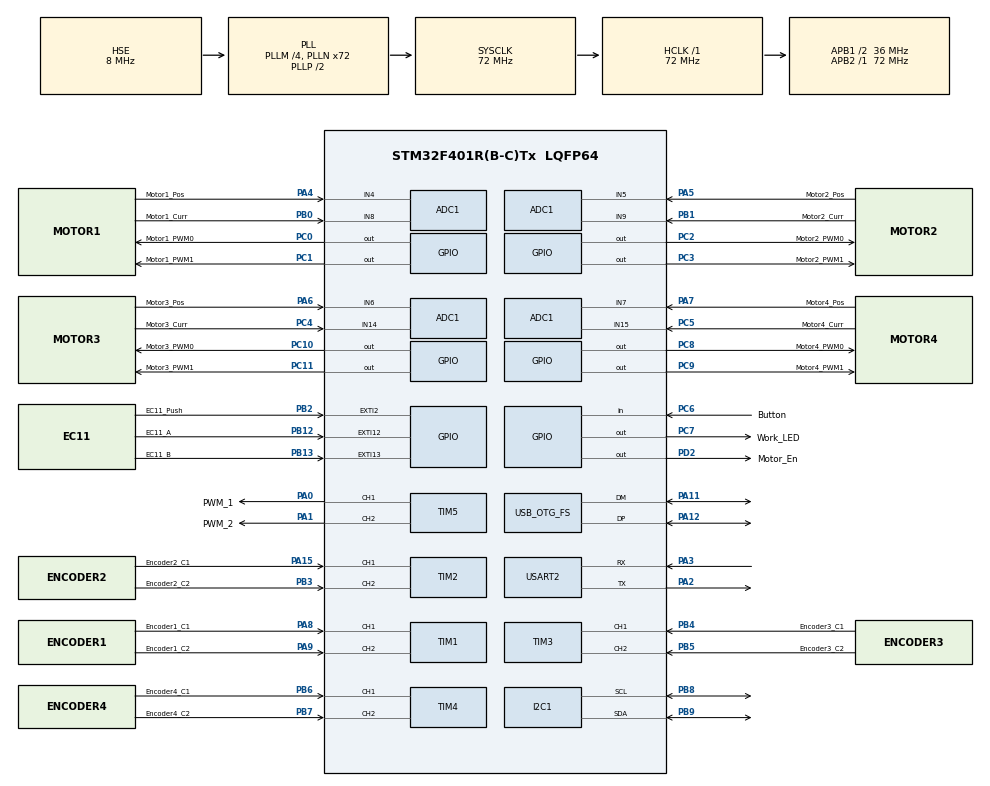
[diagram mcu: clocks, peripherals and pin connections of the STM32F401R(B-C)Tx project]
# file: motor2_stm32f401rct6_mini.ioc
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ADC1.Channel-0\#ChannelRegularConversion=ADC_CHANNEL_4
ADC1.Channel-1\#ChannelRegularConversion=ADC_CHANNEL_5
ADC1.Channel-2\#ChannelRegularConversion=ADC_CHANNEL_6
ADC1.Channel-3\#ChannelRegularConversion=ADC_CHANNEL_7
ADC1.Channel-4\#ChannelRegularConversion=ADC_CHANNEL_8
ADC1.Channel-5\#ChannelRegularConversion=ADC_CHANNEL_9
ADC1.Channel-6\#ChannelRegularConversion=ADC_CHANNEL_14
ADC1.Channel-7\#ChannelRegularConversion=ADC_CHANNEL_15
ADC1.Channel-8\#ChannelRegularConversion=ADC_CHANNEL_VREFINT
ADC1.EOCSelection=ADC_EOC_SEQ_CONV
ADC1.NbrOfConversion=9
ADC1.NbrOfConversionFlag=1
ADC1.Rank-0\#ChannelRegularConversion=1
ADC1.Rank-1\#ChannelRegularConversion=2
ADC1.Rank-2\#ChannelRegularConversion=3
ADC1.Rank-3\#ChannelRegularConversion=4
ADC1.Rank-4\#ChannelRegularConversion=5
ADC1.Rank-5\#ChannelRegularConversion=6
ADC1.Rank-6\#ChannelRegularConversion=7
ADC1.Rank-7\#ChannelRegularConversion=8
ADC1.Rank-8\#ChannelRegularConversion=9
ADC1.SamplingTime-0\#ChannelRegularConversion=ADC_SAMPLETIME_84CYCLES
ADC1.SamplingTime-1\#ChannelRegularConversion=ADC_SAMPLETIME_84CYCLES
ADC1.SamplingTime-2\#ChannelRegularConversion=ADC_SAMPLETIME_84CYCLES
ADC1.SamplingTime-3\#ChannelRegularConversion=ADC_SAMPLETIME_84CYCLES
ADC1.SamplingTime-4\#ChannelRegularConversion=ADC_SAMPLETIME_84CYCLES
ADC1.SamplingTime-5\#ChannelRegularConversion=ADC_SAMPLETIME_84CYCLES
ADC1.SamplingTime-6\#ChannelRegularConversion=ADC_SAMPLETIME_84CYCLES
ADC1.SamplingTime-7\#ChannelRegularConversion=ADC_SAMPLETIME_84CYCLES
ADC1.SamplingTime-8\#ChannelRegularConversion=ADC_SAMPLETIME_144CYCLES
ADC1.ScanConvMode=ENABLE
ADC1.master=1
Dma.ADC1.0.Direction=DMA_PERIPH_TO_MEMORY
Dma.ADC1.0.FIFOMode=DMA_FIFOMODE_DISABLE
Dma.ADC1.0.Instance=DMA2_Stream0
Dma.ADC1.0.MemDataAlignment=DMA_MDATAALIGN_HALFWORD
Dma.ADC1.0.MemInc=DMA_MINC_ENABLE
Dma.ADC1.0.Mode=DMA_NORMAL
Dma.ADC1.0.PeriphDataAlignment=DMA_PDATAALIGN_HALFWORD
Dma.ADC1.0.PeriphInc=DMA_PINC_DISABLE
Dma.ADC1.0.Priority=DMA_PRIORITY_LOW
Dma.Request0=ADC1
FREERTOS.Tasks01=defaultTask,0,2048,StartDefaultTask,Default,NULL,Dynamic,NULL,NULL;mainTask,-3,2048,main_task,Default,NULL,Dynamic,NULL,NULL
FREERTOS.configENABLE_FPU=1
FREERTOS.configTOTAL_HEAP_SIZE=32768
FREERTOS.configUSE_NEWLIB_REENTRANT=1
I2C1.I2C_Mode=I2C_Fast
IWDG.Prescaler=IWDG_PRESCALER_64
IWDG.Reload=500
Mcu.Family=STM32F4
Mcu.Name=STM32F401R(B-C)Tx
Mcu.Package=LQFP64
NVIC.ADC_IRQn=true\:15\:0\:true\:false\:true\:true\:true\:true\:true
NVIC.DMA2_Stream0_IRQn=true\:15\:0\:true\:false\:true\:true\:false\:true\:true
NVIC.EXTI15_10_IRQn=true\:15\:0\:true\:false\:true\:true\:true\:true\:true
NVIC.EXTI2_IRQn=true\:15\:0\:true\:false\:true\:true\:true\:true\:true
NVIC.OTG_FS_IRQn=true\:5\:0\:false\:false\:true\:true\:false\:true\:true
NVIC.PriorityGroup=NVIC_PRIORITYGROUP_4
NVIC.TIM1_TRG_COM_TIM11_IRQn=true\:15\:0\:false\:false\:true\:false\:false\:true\:true
NVIC.TIM1_UP_TIM10_IRQn=true\:6\:0\:true\:false\:true\:true\:true\:true\:true
NVIC.TIM3_IRQn=true\:6\:0\:true\:false\:true\:true\:true\:true\:true
NVIC.TIM4_IRQn=true\:6\:0\:true\:false\:true\:true\:true\:true\:true
NVIC.TimeBase=TIM1_TRG_COM_TIM11_IRQn
NVIC.TimeBaseIP=TIM11
PA0-WKUP.GPIO_Label=PWM_1
PA0-WKUP.Signal=S_TIM5_CH1
PA1.GPIO_Label=PWM_2
PA1.Signal=S_TIM5_CH2
PA11.Mode=Device_Only
PA11.Signal=USB_OTG_FS_DM
PA12.Mode=Device_Only
PA12.Signal=USB_OTG_FS_DP
PA13.Mode=Serial_Wire
PA13.Signal=SYS_JTMS-SWDIO
PA14.Mode=Serial_Wire
PA14.Signal=SYS_JTCK-SWCLK
PA15.GPIO_Label=Encoder2_C1
PA15.Signal=S_TIM2_CH1_ETR
PA2.Mode=Asynchronous
PA2.Signal=USART2_TX
PA3.Mode=Asynchronous
PA3.Signal=USART2_RX
PA4.GPIO_Label=Motor1_Pos
PA4.Signal=ADCx_IN4
PA5.GPIO_Label=Motor2_Pos
PA5.Signal=ADCx_IN5
PA6.GPIO_Label=Motor3_Pos
PA6.Signal=ADCx_IN6
PA7.GPIO_Label=Motor4_Pos
PA7.Signal=ADCx_IN7
PA8.GPIO_Label=Encoder1_C1
PA8.Signal=S_TIM1_CH1
PA9.GPIO_Label=Encoder1_C2
PA9.Signal=S_TIM1_CH2
PB0.GPIO_Label=Motor1_Curr
PB0.Signal=ADCx_IN8
PB1.GPIO_Label=Motor2_Curr
PB1.Signal=ADCx_IN9
PB12.GPIO_Label=EC11_A
PB12.GPIO_PuPd=GPIO_PULLUP
PB12.Signal=GPXTI12
PB13.GPIO_Label=EC11_B
PB13.GPIO_PuPd=GPIO_PULLUP
PB13.Signal=GPXTI13
PB2.GPIO_Label=EC11_Push
PB2.GPIO_PuPd=GPIO_PULLUP
PB2.Signal=GPXTI2
PB3.GPIO_Label=Encoder2_C2
PB3.Signal=S_TIM2_CH2
PB4.GPIO_Label=Encoder3_C1
PB4.Signal=S_TIM3_CH1
PB5.GPIO_Label=Encoder3_C2
PB5.Signal=S_TIM3_CH2
PB6.GPIO_Label=Encoder4_C1
PB6.Signal=S_TIM4_CH1
PB7.GPIO_Label=Encoder4_C2
PB7.Signal=S_TIM4_CH2
PB8.Mode=I2C
PB8.Signal=I2C1_SCL
PB9.Mode=I2C
PB9.Signal=I2C1_SDA
PC0.GPIO_Label=Motor1_PWM0
PC0.GPIO_PuPd=GPIO_PULLDOWN
PC0.Signal=GPIO_Output
PC1.GPIO_Label=Motor1_PWM1
PC1.Signal=GPIO_Output
PC10.GPIO_Label=Motor3_PWM0
PC10.GPIO_PuPd=GPIO_PULLDOWN
PC10.Signal=GPIO_Output
PC11.GPIO_Label=Motor3_PWM1
PC11.GPIO_PuPd=GPIO_PULLDOWN
PC11.Signal=GPIO_Output
PC14-OSC32_IN.Mode=LSE-External-Oscillator
PC14-OSC32_IN.Signal=RCC_OSC32_IN
PC15-OSC32_OUT.Mode=LSE-External-Oscillator
PC15-OSC32_OUT.Signal=RCC_OSC32_OUT
PC2.GPIO_Label=Motor2_PWM0
PC2.Signal=GPIO_Output
PC3.GPIO_Label=Motor2_PWM1
PC3.Signal=GPIO_Output
PC4.GPIO_Label=Motor3_Curr
PC4.Signal=ADCx_IN14
PC5.GPIO_Label=Motor4_Curr
PC5.Signal=ADCx_IN15
PC6.GPIO_Label=Button
PC6.GPIO_PuPd=GPIO_PULLUP
PC6.Signal=GPIO_Input
PC7.GPIO_Label=Work_LED
PC7.Signal=GPIO_Output
PC8.GPIO_Label=Motor4_PWM0
PC8.GPIO_PuPd=GPIO_PULLDOWN
PC8.Signal=GPIO_Output
PC9.GPIO_Label=Motor4_PWM1
PC9.Signal=GPIO_Output
PD2.GPIO_Label=Motor_En
PD2.GPIO_PuPd=GPIO_PULLDOWN
PD2.Signal=GPIO_Output
PH0\ -\ OSC_IN.Mode=HSE-External-Oscillator
PH0\ -\ OSC_IN.Signal=RCC_OSC_IN
PH1\ -\ OSC_OUT.Mode=HSE-External-Oscillator
PH1\ -\ OSC_OUT.Signal=RCC_OSC_OUT
ProjectManager.HeapSize=0x200
ProjectManager.StackSize=0x400
ProjectManager.TargetToolchain=CMake
RCC.48MHZClocksFreq_Value=48000000
RCC.AHBFreq_Value=72000000
RCC.APB1CLKDivider=RCC_HCLK_DIV2
RCC.APB1Freq_Value=36000000
RCC.APB1TimFreq_Value=72000000
RCC.APB2Freq_Value=72000000
RCC.APB2TimFreq_Value=72000000
RCC.CortexFreq_Value=72000000
RCC.HCLKFreq_Value=72000000
RCC.HSE_VALUE=8000000
RCC.HSI_VALUE=16000000
RCC.PLLM=4
RCC.PLLN=72
RCC.PLLQ=3
RCC.SYSCLKFreq_VALUE=72000000
RCC.SYSCLKSource=RCC_SYSCLKSOURCE_PLLCLK
RCC.VCOOutputFreq_Value=144000000
SH.ADCx_IN14.0=ADC1_IN14,IN14
SH.ADCx_IN15.0=ADC1_IN15,IN15
SH.ADCx_IN4.0=ADC1_IN4,IN4
SH.ADCx_IN5.0=ADC1_IN5,IN5
SH.ADCx_IN6.0=ADC1_IN6,IN6
SH.ADCx_IN7.0=ADC1_IN7,IN7
SH.ADCx_IN8.0=ADC1_IN8,IN8
SH.ADCx_IN9.0=ADC1_IN9,IN9
SH.S_TIM1_CH1.0=TIM1_CH1,Encoder_Interface
SH.S_TIM1_CH2.0=TIM1_CH2,Encoder_Interface
SH.S_TIM2_CH1_ETR.0=TIM2_CH1,Encoder_Interface
SH.S_TIM2_CH2.0=TIM2_CH2,Encoder_Interface
SH.S_TIM3_CH1.0=TIM3_CH1,Encoder_Interface
SH.S_TIM3_CH2.0=TIM3_CH2,Encoder_Interface
SH.S_TIM4_CH1.0=TIM4_CH1,Encoder_Interface
SH.S_TIM4_CH2.0=TIM4_CH2,Encoder_Interface
SH.S_TIM5_CH1.0=TIM5_CH1,PWM Generation1 CH1
SH.S_TIM5_CH2.0=TIM5_CH2,PWM Generation2 CH2
TIM1.IC1Filter=8
TIM1.IC2Filter=8
TIM10.Period=1000-1
TIM10.Prescaler=72-1
TIM2.IC1Filter=8
TIM2.IC2Filter=8
TIM3.IC1Filter=8
TIM3.IC2Filter=8
TIM4.IC1Filter=8
TIM4.IC2Filter=8
TIM5.Channel-PWM\ Generation1\ CH1=TIM_CHANNEL_1
TIM5.Channel-PWM\ Generation2\ CH2=TIM_CHANNEL_2
USART2.VirtualMode=VM_ASYNC
USB_DEVICE.CLASS_NAME_FS=CDC
USB_DEVICE.MANUFACTURER_STRING=Luke
USB_DEVICE.PRODUCT_STRING_CDC_FS=Motor Controller V2
USB_DEVICE.VirtualMode=Cdc
USB_DEVICE.VirtualModeFS=Cdc_FS
USB_OTG_FS.VirtualMode=Device_Only
VP_ADC1_Vref_Input.Mode=IN-Vrefint
VP_FREERTOS_VS_CMSIS_V1.Mode=CMSIS_V1
VP_IWDG_VS_IWDG.Mode=IWDG_Activate
VP_SYS_VS_tim11.Mode=TIM11
VP_TIM10_VS_ClockSourceINT.Mode=Enable_Timer
VP_TIM5_VS_ClockSourceINT.Mode=Internal
VP_USB_DEVICE_VS_USB_DEVICE_CDC_FS.Mode=CDC_FS
board=custom

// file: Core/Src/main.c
/* USER CODE BEGIN Header */
/**
  ******************************************************************************
  * @file           : main.c
  * @brief          : Main program body
  ******************************************************************************
  * @attention
  *
  * Copyright (c) 2026 STMicroelectronics.
  * All rights reserved.
  *
  * This software is licensed under terms that can be found in the LICENSE file
  * in the root directory of this software component.
  * If no LICENSE file comes with this software, it is provided AS-IS.
  *
  ******************************************************************************
  */
/* USER CODE END Header */
#include "main.h"
#include "cmsis_os.h"
#include "usb_device.h"

/* USER CODE BEGIN Includes */
#include "nvs.h"
#include "adc.h"
#include "motor_encoder.h"
#include "motor_servo.h"
#include "gpio_pwm.h"
#include <stdint.h>
#include "command.h"
/* USER CODE END Includes */

/* USER CODE BEGIN PD */
//#define _PRINTF_
/* USER CODE END PD */

ADC_HandleTypeDef hadc1;
DMA_HandleTypeDef hdma_adc1;

I2C_HandleTypeDef hi2c1;

IWDG_HandleTypeDef hiwdg;

TIM_HandleTypeDef htim1;
TIM_HandleTypeDef htim2;
TIM_HandleTypeDef htim3;
TIM_HandleTypeDef htim4;
TIM_HandleTypeDef htim5;
TIM_HandleTypeDef htim10;

UART_HandleTypeDef huart2;

osThreadId defaultTaskHandle;
osThreadId mainTaskHandle;
/* USER CODE BEGIN PV */
__IO char _cmd_buffer[1024];                      //缓存USB命令
__IO int16_t _cmd_buffer_len = 0;
#ifdef _PRINTF_
static char _stdout_buffer[1024];                 //标准输出缓存
static uint16_t _stdout_ptr = 0;                   //指向下一个缓存位置
static int16_t _stdout_rdy = 0;
#endif
__IO int16_t _usb_connected = 0;
static SemaphoreHandle_t _usb_mutex = NULL;              //USB访问互斥锁
/* USER CODE END PV */

void SystemClock_Config(void);
static void MX_GPIO_Init(void);
static void MX_DMA_Init(void);
static void MX_ADC1_Init(void);
static void MX_I2C1_Init(void);
static void MX_TIM1_Init(void);
static void MX_TIM2_Init(void);
static void MX_TIM3_Init(void);
static void MX_TIM4_Init(void);
static void MX_TIM5_Init(void);
static void MX_TIM10_Init(void);
static void MX_USART2_UART_Init(void);
static void MX_IWDG_Init(void);
void StartDefaultTask(void const * argument);
void main_task(void const * argument);

/* USER CODE BEGIN 0 */
uint8_t CDC_Transmit_FS(uint8_t* Buf, uint16_t Len);

#ifdef _PRINTF_
#include "stdio.h"
#define PUTCHAR_PROTOTYPE int __io_putchar(int ch)

PUTCHAR_PROTOTYPE
{
  if(ch == '\f') {  //不输出\f，直接刷新缓存
    _stdout_rdy = 1;
    return ch;
  }
  if(_stdout_ptr < sizeof(_stdout_buffer) - 1) {
    _stdout_buffer[_stdout_ptr++] = ch;
    if(_stdout_ptr == sizeof(_stdout_buffer) || ch == '\n' || ch == '\r') {
      _stdout_rdy = 1;
      return ch;
    }
  }
  //虽然不会执行到这里
  _stdout_rdy = 1;
	return ch;
}
#endif

//GPIO中断回调函数是多个引脚共用的，因此要根据GPIO引脚的不同来分别调用不同的回调函数
void HAL_GPIO_EXTI_Callback(uint16_t GPIO_Pin) {

}

//ADC转换完成中断
void HAL_ADC_ConvCpltCallback(ADC_HandleTypeDef *hadc) {
	adc_conv_callback(hadc);
}

//模拟USB插拔
void unplug_plug_usb() {
  __HAL_RCC_GPIOA_CLK_ENABLE();
  GPIO_InitTypeDef GPIO_InitStruct = {0};
  /*Configure GPIO pin Output Level */
  HAL_GPIO_WritePin(GPIOA, GPIO_PIN_12, GPIO_PIN_RESET);
  /*Configure GPIO pin : PA12 */
  GPIO_InitStruct.Pin = GPIO_PIN_12;
  GPIO_InitStruct.Mode = GPIO_MODE_OUTPUT_PP;
  GPIO_InitStruct.Pull = GPIO_PULLDOWN;
  GPIO_InitStruct.Speed = GPIO_SPEED_FREQ_LOW;
  HAL_GPIO_Init(GPIOA, &GPIO_InitStruct);

  HAL_GPIO_WritePin(GPIOA, GPIO_PIN_12,
  GPIO_PIN_RESET);
  HAL_Delay(65);
  //先把PA12拉低再拉高，利用D+模拟USB的拔插动作
  HAL_GPIO_WritePin(GPIOA,GPIO_PIN_12,GPIO_PIN_SET);
  HAL_Delay(65);
}

char * float_to_string(float value, char* buffer, int16_t precision) {
  int32_t fixed_value;
  int32_t float_value;
  int8_t negative = 0;

  // 处理负数
  if(value < 0) {
    negative = 1;
    value = -value;
  }

  switch(precision) {
    case 1:
      fixed_value = (int32_t)(value);
      // 修正浮点运算精度问题
      float_value = (int32_t)((value - fixed_value) * 10.0f + 0.5f);
      if(negative && (fixed_value != 0 || float_value != 0)) {
        sprintf(buffer, "-%ld.%ld", fixed_value, float_value);
      } else {
        sprintf(buffer, "%ld.%ld", fixed_value, float_value);
      }
      return buffer;
    case 2:
      fixed_value = (int32_t)(value);
      // 修正浮点运算精度问题
      float_value = (int32_t)((value - fixed_value) * 100.0f + 0.5f);
      if(negative && (fixed_value != 0 || float_value != 0)) {
        sprintf(buffer, "-%ld.%02ld", fixed_value, float_value);
      } else {
        sprintf(buffer, "%ld.%02ld", fixed_value, float_value);
      }
      return buffer;
    default:
      fixed_value = (int32_t)(value + 0.5f);
      float_value = 0;
      if(negative && fixed_value != 0) {
        sprintf(buffer, "-%ld", fixed_value);
      } else {
        sprintf(buffer, "%ld", fixed_value);
      }
      return buffer;
  }
}

//复位前置操作，必须停止所有马达
void soft_reset() {
	for(int i=0; i<MOTOR_MAX_CHANNELS; i++) {
		motor_stop_pid(motor_get(i));
		motor_release(motor_get(i));
		osDelay(100);
	}
	HAL_NVIC_SystemReset();
}

/* USER CODE END 0 */

int main(void)
{

  /* MCU Configuration--------------------------------------------------------*/

  /* Reset of all peripherals, Initializes the Flash interface and the Systick. */
  HAL_Init();

  /* Configure the system clock */
  SystemClock_Config();

  /* USER CODE BEGIN SysInit */
  unplug_plug_usb();
  /* USER CODE END SysInit */

  /* Initialize all configured peripherals */
  MX_GPIO_Init();
  MX_DMA_Init();
  MX_ADC1_Init();
  MX_I2C1_Init();
  MX_TIM1_Init();
  MX_TIM2_Init();
  MX_TIM3_Init();
  MX_TIM4_Init();
  MX_TIM5_Init();
  MX_TIM10_Init();
  MX_USART2_UART_Init();
  MX_IWDG_Init();
  /* USER CODE BEGIN 2 */
  // 允许断点调试
  __HAL_FREEZE_IWDG_DBGMCU();
  //初始化NVS存储空间
  init_nvs();
  //初始化马达编码器
  motor_encoder_init();
  //初始化PWM驱动器
  gpio_pwm_init();
  //初始化ADC
  adc_init(&hadc1);
  for(;;)
	  if(adc_is_ready())
		  break;
	  else
		  HAL_Delay(10);
  HAL_IWDG_Refresh(&hiwdg);
  /* USER CODE END 2 */

  /* Create the thread(s) */
  /* definition and creation of defaultTask */
  osThreadDef(defaultTask, StartDefaultTask, osPriorityNormal, 0, 2048);
  defaultTaskHandle = osThreadCreate(osThread(defaultTask), NULL);

  /* definition and creation of mainTask */
  osThreadDef(mainTask, main_task, osPriorityIdle, 0, 2048);
  mainTaskHandle = osThreadCreate(osThread(mainTask), NULL);

  /* USER CODE BEGIN RTOS_THREADS */
  /* add threads, ... */
    //初始化伺服驱动器,必须放在最后初始化
  motor_init();
  //启动马达电源
  HAL_GPIO_WritePin(Motor_En_GPIO_Port, Motor_En_Pin, GPIO_PIN_SET);
  //启动马达PWM
  gpio_pwm_enable();
  //开启测试时钟
  HAL_TIM_Base_Start_IT(&htim10);
  //结束初始化

  /* USER CODE END RTOS_THREADS */

  /* Start scheduler */
  osKernelStart();

  /* We should never get here as control is now taken by the scheduler */

  /* Infinite loop */
  while (1)
  {

  }
}

void SystemClock_Config(void)
{
  RCC_OscInitTypeDef RCC_OscInitStruct = {0};
  RCC_ClkInitTypeDef RCC_ClkInitStruct = {0};

  /** Configure the main internal regulator output voltage
  */
  __HAL_RCC_PWR_CLK_ENABLE();
  __HAL_PWR_VOLTAGESCALING_CONFIG(PWR_REGULATOR_VOLTAGE_SCALE2);

  /** Initializes the RCC Oscillators according to the specified parameters
  * in the RCC_OscInitTypeDef structure.
  */
  RCC_OscInitStruct.OscillatorType = RCC_OSCILLATORTYPE_LSI|RCC_OSCILLATORTYPE_HSE;
  RCC_OscInitStruct.HSEState = RCC_HSE_ON;
  RCC_OscInitStruct.LSIState = RCC_LSI_ON;
  RCC_OscInitStruct.PLL.PLLState = RCC_PLL_ON;
  RCC_OscInitStruct.PLL.PLLSource = RCC_PLLSOURCE_HSE;
  RCC_OscInitStruct.PLL.PLLM = 4;
  RCC_OscInitStruct.PLL.PLLN = 72;
  RCC_OscInitStruct.PLL.PLLP = RCC_PLLP_DIV2;
  RCC_OscInitStruct.PLL.PLLQ = 3;
  if (HAL_RCC_OscConfig(&RCC_OscInitStruct) != HAL_OK)
  {
    Error_Handler();
  }

  /** Initializes the CPU, AHB and APB buses clocks
  */
  RCC_ClkInitStruct.ClockType = RCC_CLOCKTYPE_HCLK|RCC_CLOCKTYPE_SYSCLK
                              |RCC_CLOCKTYPE_PCLK1|RCC_CLOCKTYPE_PCLK2;
  RCC_ClkInitStruct.SYSCLKSource = RCC_SYSCLKSOURCE_PLLCLK;
  RCC_ClkInitStruct.AHBCLKDivider = RCC_SYSCLK_DIV1;
  RCC_ClkInitStruct.APB1CLKDivider = RCC_HCLK_DIV2;
  RCC_ClkInitStruct.APB2CLKDivider = RCC_HCLK_DIV1;

  if (HAL_RCC_ClockConfig(&RCC_ClkInitStruct, FLASH_LATENCY_2) != HAL_OK)
  {
    Error_Handler();
  }
}

static void MX_ADC1_Init(void)
{

  ADC_ChannelConfTypeDef sConfig = {0};

  /** Configure the global features of the ADC (Clock, Resolution, Data Alignment and number of conversion)
  */
  hadc1.Instance = ADC1;
  hadc1.Init.ClockPrescaler = ADC_CLOCK_SYNC_PCLK_DIV2;
  hadc1.Init.Resolution = ADC_RESOLUTION_12B;
  hadc1.Init.ScanConvMode = ENABLE;
  hadc1.Init.ContinuousConvMode = DISABLE;
  hadc1.Init.DiscontinuousConvMode = DISABLE;
  hadc1.Init.ExternalTrigConvEdge = ADC_EXTERNALTRIGCONVEDGE_NONE;
  hadc1.Init.ExternalTrigConv = ADC_SOFTWARE_START;
  hadc1.Init.DataAlign = ADC_DATAALIGN_RIGHT;
  hadc1.Init.NbrOfConversion = 9;
  hadc1.Init.DMAContinuousRequests = DISABLE;
  hadc1.Init.EOCSelection = ADC_EOC_SEQ_CONV;
  if (HAL_ADC_Init(&hadc1) != HAL_OK)
  {
    Error_Handler();
  }

  /** Configure for the selected ADC regular channel its corresponding rank in the sequencer and its sample time.
  */
  sConfig.Channel = ADC_CHANNEL_4;
  sConfig.Rank = 1;
  sConfig.SamplingTime = ADC_SAMPLETIME_84CYCLES;
  if (HAL_ADC_ConfigChannel(&hadc1, &sConfig) != HAL_OK)
  {
    Error_Handler();
  }

  /** Configure for the selected ADC regular channel its corresponding rank in the sequencer and its sample time.
  */
  sConfig.Channel = ADC_CHANNEL_5;
  sConfig.Rank = 2;
  if (HAL_ADC_ConfigChannel(&hadc1, &sConfig) != HAL_OK)
  {
    Error_Handler();
  }

  /** Configure for the selected ADC regular channel its corresponding rank in the sequencer and its sample time.
  */
  sConfig.Channel = ADC_CHANNEL_6;
  sConfig.Rank = 3;
  if (HAL_ADC_ConfigChannel(&hadc1, &sConfig) != HAL_OK)
  {
    Error_Handler();
  }

  /** Configure for the selected ADC regular channel its corresponding rank in the sequencer and its sample time.
  */
  sConfig.Channel = ADC_CHANNEL_7;
  sConfig.Rank = 4;
  if (HAL_ADC_ConfigChannel(&hadc1, &sConfig) != HAL_OK)
  {
    Error_Handler();
  }

  /** Configure for the selected ADC regular channel its corresponding rank in the sequencer and its sample time.
  */
  sConfig.Channel = ADC_CHANNEL_8;
  sConfig.Rank = 5;
  if (HAL_ADC_ConfigChannel(&hadc1, &sConfig) != HAL_OK)
  {
    Error_Handler();
  }

  /** Configure for the selected ADC regular channel its corresponding rank in the sequencer and its sample time.
  */
  sConfig.Channel = ADC_CHANNEL_9;
  sConfig.Rank = 6;
  if (HAL_ADC_ConfigChannel(&hadc1, &sConfig) != HAL_OK)
  {
    Error_Handler();
  }

  /** Configure for the selected ADC regular channel its corresponding rank in the sequencer and its sample time.
  */
  sConfig.Channel = ADC_CHANNEL_14;
  sConfig.Rank = 7;
  if (HAL_ADC_ConfigChannel(&hadc1, &sConfig) != HAL_OK)
  {
    Error_Handler();
  }

  /** Configure for the selected ADC regular channel its corresponding rank in the sequencer and its sample time.
  */
  sConfig.Channel = ADC_CHANNEL_15;
  sConfig.Rank = 8;
  if (HAL_ADC_ConfigChannel(&hadc1, &sConfig) != HAL_OK)
  {
    Error_Handler();
  }

  /** Configure for the selected ADC regular channel its corresponding rank in the sequencer and its sample time.
  */
  sConfig.Channel = ADC_CHANNEL_VREFINT;
  sConfig.Rank = 9;
  sConfig.SamplingTime = ADC_SAMPLETIME_144CYCLES;
  if (HAL_ADC_ConfigChannel(&hadc1, &sConfig) != HAL_OK)
  {
    Error_Handler();
  }

}

static void MX_I2C1_Init(void)
{

  hi2c1.Instance = I2C1;
  hi2c1.Init.ClockSpeed = 400000;
  hi2c1.Init.DutyCycle = I2C_DUTYCYCLE_2;
  hi2c1.Init.OwnAddress1 = 0;
  hi2c1.Init.AddressingMode = I2C_ADDRESSINGMODE_7BIT;
  hi2c1.Init.DualAddressMode = I2C_DUALADDRESS_DISABLE;
  hi2c1.Init.OwnAddress2 = 0;
  hi2c1.Init.GeneralCallMode = I2C_GENERALCALL_DISABLE;
  hi2c1.Init.NoStretchMode = I2C_NOSTRETCH_DISABLE;
  if (HAL_I2C_Init(&hi2c1) != HAL_OK)
  {
    Error_Handler();
  }

}

static void MX_IWDG_Init(void)
{

  hiwdg.Instance = IWDG;
  hiwdg.Init.Prescaler = IWDG_PRESCALER_64;
  hiwdg.Init.Reload = 500;
  if (HAL_IWDG_Init(&hiwdg) != HAL_OK)
  {
    Error_Handler();
  }

}

static void MX_TIM1_Init(void)
{

  TIM_Encoder_InitTypeDef sConfig = {0};
  TIM_MasterConfigTypeDef sMasterConfig = {0};

  htim1.Instance = TIM1;
  htim1.Init.Prescaler = 0;
  htim1.Init.CounterMode = TIM_COUNTERMODE_UP;
  htim1.Init.Period = 65535;
  htim1.Init.ClockDivision = TIM_CLOCKDIVISION_DIV1;
  htim1.Init.RepetitionCounter = 0;
  htim1.Init.AutoReloadPreload = TIM_AUTORELOAD_PRELOAD_DISABLE;
  sConfig.EncoderMode = TIM_ENCODERMODE_TI1;
  sConfig.IC1Polarity = TIM_ICPOLARITY_RISING;
  sConfig.IC1Selection = TIM_ICSELECTION_DIRECTTI;
  sConfig.IC1Prescaler = TIM_ICPSC_DIV1;
  sConfig.IC1Filter = 8;
  sConfig.IC2Polarity = TIM_ICPOLARITY_RISING;
  sConfig.IC2Selection = TIM_ICSELECTION_DIRECTTI;
  sConfig.IC2Prescaler = TIM_ICPSC_DIV1;
  sConfig.IC2Filter = 8;
  if (HAL_TIM_Encoder_Init(&htim1, &sConfig) != HAL_OK)
  {
    Error_Handler();
  }
  sMasterConfig.MasterOutputTrigger = TIM_TRGO_RESET;
  sMasterConfig.MasterSlaveMode = TIM_MASTERSLAVEMODE_DISABLE;
  if (HAL_TIMEx_MasterConfigSynchronization(&htim1, &sMasterConfig) != HAL_OK)
  {
    Error_Handler();
  }

}

static void MX_TIM2_Init(void)
{

  TIM_Encoder_InitTypeDef sConfig = {0};
  TIM_MasterConfigTypeDef sMasterConfig = {0};

  htim2.Instance = TIM2;
  htim2.Init.Prescaler = 0;
  htim2.Init.CounterMode = TIM_COUNTERMODE_UP;
  htim2.Init.Period = 4294967295;
  htim2.Init.ClockDivision = TIM_CLOCKDIVISION_DIV1;
  htim2.Init.AutoReloadPreload = TIM_AUTORELOAD_PRELOAD_DISABLE;
  sConfig.EncoderMode = TIM_ENCODERMODE_TI1;
  sConfig.IC1Polarity = TIM_ICPOLARITY_RISING;
  sConfig.IC1Selection = TIM_ICSELECTION_DIRECTTI;
  sConfig.IC1Prescaler = TIM_ICPSC_DIV1;
  sConfig.IC1Filter = 8;
  sConfig.IC2Polarity = TIM_ICPOLARITY_RISING;
  sConfig.IC2Selection = TIM_ICSELECTION_DIRECTTI;
  sConfig.IC2Prescaler = TIM_ICPSC_DIV1;
  sConfig.IC2Filter = 8;
  if (HAL_TIM_Encoder_Init(&htim2, &sConfig) != HAL_OK)
  {
    Error_Handler();
  }
  sMasterConfig.MasterOutputTrigger = TIM_TRGO_RESET;
  sMasterConfig.MasterSlaveMode = TIM_MASTERSLAVEMODE_DISABLE;
  if (HAL_TIMEx_MasterConfigSynchronization(&htim2, &sMasterConfig) != HAL_OK)
  {
    Error_Handler();
  }

}

static void MX_TIM3_Init(void)
{

  TIM_Encoder_InitTypeDef sConfig = {0};
  TIM_MasterConfigTypeDef sMasterConfig = {0};

  htim3.Instance = TIM3;
  htim3.Init.Prescaler = 0;
  htim3.Init.CounterMode = TIM_COUNTERMODE_UP;
  htim3.Init.Period = 65535;
  htim3.Init.ClockDivision = TIM_CLOCKDIVISION_DIV1;
  htim3.Init.AutoReloadPreload = TIM_AUTORELOAD_PRELOAD_DISABLE;
  sConfig.EncoderMode = TIM_ENCODERMODE_TI1;
  sConfig.IC1Polarity = TIM_ICPOLARITY_RISING;
  sConfig.IC1Selection = TIM_ICSELECTION_DIRECTTI;
  sConfig.IC1Prescaler = TIM_ICPSC_DIV1;
  sConfig.IC1Filter = 8;
  sConfig.IC2Polarity = TIM_ICPOLARITY_RISING;
  sConfig.IC2Selection = TIM_ICSELECTION_DIRECTTI;
  sConfig.IC2Prescaler = TIM_ICPSC_DIV1;
  sConfig.IC2Filter = 8;
  if (HAL_TIM_Encoder_Init(&htim3, &sConfig) != HAL_OK)
  {
    Error_Handler();
  }
  sMasterConfig.MasterOutputTrigger = TIM_TRGO_RESET;
  sMasterConfig.MasterSlaveMode = TIM_MASTERSLAVEMODE_DISABLE;
  if (HAL_TIMEx_MasterConfigSynchronization(&htim3, &sMasterConfig) != HAL_OK)
  {
    Error_Handler();
  }

}

static void MX_TIM4_Init(void)
{

  TIM_Encoder_InitTypeDef sConfig = {0};
  TIM_MasterConfigTypeDef sMasterConfig = {0};

  htim4.Instance = TIM4;
  htim4.Init.Prescaler = 0;
  htim4.Init.CounterMode = TIM_COUNTERMODE_UP;
  htim4.Init.Period = 65535;
  htim4.Init.ClockDivision = TIM_CLOCKDIVISION_DIV1;
  htim4.Init.AutoReloadPreload = TIM_AUTORELOAD_PRELOAD_DISABLE;
  sConfig.EncoderMode = TIM_ENCODERMODE_TI1;
  sConfig.IC1Polarity = TIM_ICPOLARITY_RISING;
  sConfig.IC1Selection = TIM_ICSELECTION_DIRECTTI;
  sConfig.IC1Prescaler = TIM_ICPSC_DIV1;
  sConfig.IC1Filter = 8;
  sConfig.IC2Polarity = TIM_ICPOLARITY_RISING;
  sConfig.IC2Selection = TIM_ICSELECTION_DIRECTTI;
  sConfig.IC2Prescaler = TIM_ICPSC_DIV1;
  sConfig.IC2Filter = 8;
  if (HAL_TIM_Encoder_Init(&htim4, &sConfig) != HAL_OK)
  {
    Error_Handler();
  }
  sMasterConfig.MasterOutputTrigger = TIM_TRGO_RESET;
  sMasterConfig.MasterSlaveMode = TIM_MASTERSLAVEMODE_DISABLE;
  if (HAL_TIMEx_MasterConfigSynchronization(&htim4, &sMasterConfig) != HAL_OK)
  {
    Error_Handler();
  }

}

static void MX_TIM5_Init(void)
{

  TIM_ClockConfigTypeDef sClockSourceConfig = {0};
  TIM_MasterConfigTypeDef sMasterConfig = {0};
  TIM_OC_InitTypeDef sConfigOC = {0};

  htim5.Instance = TIM5;
  htim5.Init.Prescaler = 0;
  htim5.Init.CounterMode = TIM_COUNTERMODE_UP;
  htim5.Init.Period = 4294967295;
  htim5.Init.ClockDivision = TIM_CLOCKDIVISION_DIV1;
  htim5.Init.AutoReloadPreload = TIM_AUTORELOAD_PRELOAD_DISABLE;
  if (HAL_TIM_Base_Init(&htim5) != HAL_OK)
  {
    Error_Handler();
  }
  sClockSourceConfig.ClockSource = TIM_CLOCKSOURCE_INTERNAL;
  if (HAL_TIM_ConfigClockSource(&htim5, &sClockSourceConfig) != HAL_OK)
  {
    Error_Handler();
  }
  if (HAL_TIM_PWM_Init(&htim5) != HAL_OK)
  {
    Error_Handler();
  }
  sMasterConfig.MasterOutputTrigger = TIM_TRGO_RESET;
  sMasterConfig.MasterSlaveMode = TIM_MASTERSLAVEMODE_DISABLE;
  if (HAL_TIMEx_MasterConfigSynchronization(&htim5, &sMasterConfig) != HAL_OK)
  {
    Error_Handler();
  }
  sConfigOC.OCMode = TIM_OCMODE_PWM1;
  sConfigOC.Pulse = 0;
  sConfigOC.OCPolarity = TIM_OCPOLARITY_HIGH;
  sConfigOC.OCFastMode = TIM_OCFAST_DISABLE;
  if (HAL_TIM_PWM_ConfigChannel(&htim5, &sConfigOC, TIM_CHANNEL_1) != HAL_OK)
  {
    Error_Handler();
  }
  if (HAL_TIM_PWM_ConfigChannel(&htim5, &sConfigOC, TIM_CHANNEL_2) != HAL_OK)
  {
    Error_Handler();
  }
  HAL_TIM_MspPostInit(&htim5);

}

static void MX_TIM10_Init(void)
{

  htim10.Instance = TIM10;
  htim10.Init.Prescaler = 72-1;
  htim10.Init.CounterMode = TIM_COUNTERMODE_UP;
  htim10.Init.Period = 1000-1;
  htim10.Init.ClockDivision = TIM_CLOCKDIVISION_DIV1;
  htim10.Init.AutoReloadPreload = TIM_AUTORELOAD_PRELOAD_DISABLE;
  if (HAL_TIM_Base_Init(&htim10) != HAL_OK)
  {
    Error_Handler();
  }

}

static void MX_USART2_UART_Init(void)
{

  huart2.Instance = USART2;
  huart2.Init.BaudRate = 115200;
  huart2.Init.WordLength = UART_WORDLENGTH_8B;
  huart2.Init.StopBits = UART_STOPBITS_1;
  huart2.Init.Parity = UART_PARITY_NONE;
  huart2.Init.Mode = UART_MODE_TX_RX;
  huart2.Init.HwFlowCtl = UART_HWCONTROL_NONE;
  huart2.Init.OverSampling = UART_OVERSAMPLING_16;
  if (HAL_UART_Init(&huart2) != HAL_OK)
  {
    Error_Handler();
  }

}

static void MX_DMA_Init(void)
{

  /* DMA controller clock enable */
  __HAL_RCC_DMA2_CLK_ENABLE();

  /* DMA interrupt init */
  /* DMA2_Stream0_IRQn interrupt configuration */
  HAL_NVIC_SetPriority(DMA2_Stream0_IRQn, 15, 0);
  HAL_NVIC_EnableIRQ(DMA2_Stream0_IRQn);

}

static void MX_GPIO_Init(void)
{
  GPIO_InitTypeDef GPIO_InitStruct = {0};

  /* GPIO Ports Clock Enable */
  __HAL_RCC_GPIOC_CLK_ENABLE();
  __HAL_RCC_GPIOH_CLK_ENABLE();
  __HAL_RCC_GPIOA_CLK_ENABLE();
  __HAL_RCC_GPIOB_CLK_ENABLE();
  __HAL_RCC_GPIOD_CLK_ENABLE();

  /*Configure GPIO pin Output Level */
  HAL_GPIO_WritePin(GPIOC, Motor1_PWM0_Pin|Motor1_PWM1_Pin|Motor2_PWM0_Pin|Motor2_PWM1_Pin
                          |Work_LED_Pin|Motor4_PWM0_Pin|Motor4_PWM1_Pin|Motor3_PWM0_Pin
                          |Motor3_PWM1_Pin, GPIO_PIN_RESET);

  /*Configure GPIO pin Output Level */
  HAL_GPIO_WritePin(Motor_En_GPIO_Port, Motor_En_Pin, GPIO_PIN_RESET);

  /*Configure GPIO pins : Motor1_PWM0_Pin Motor4_PWM0_Pin Motor3_PWM0_Pin Motor3_PWM1_Pin */
  GPIO_InitStruct.Pin = Motor1_PWM0_Pin|Motor4_PWM0_Pin|Motor3_PWM0_Pin|Motor3_PWM1_Pin;
  GPIO_InitStruct.Mode = GPIO_MODE_OUTPUT_PP;
  GPIO_InitStruct.Pull = GPIO_PULLDOWN;
  GPIO_InitStruct.Speed = GPIO_SPEED_FREQ_LOW;
  HAL_GPIO_Init(GPIOC, &GPIO_InitStruct);

  /*Configure GPIO pins : Motor1_PWM1_Pin Motor2_PWM0_Pin Motor2_PWM1_Pin Work_LED_Pin
                           Motor4_PWM1_Pin */
  GPIO_InitStruct.Pin = Motor1_PWM1_Pin|Motor2_PWM0_Pin|Motor2_PWM1_Pin|Work_LED_Pin
                          |Motor4_PWM1_Pin;
  GPIO_InitStruct.Mode = GPIO_MODE_OUTPUT_PP;
  GPIO_InitStruct.Pull = GPIO_NOPULL;
  GPIO_InitStruct.Speed = GPIO_SPEED_FREQ_LOW;
  HAL_GPIO_Init(GPIOC, &GPIO_InitStruct);

  /*Configure GPIO pins : EC11_Push_Pin EC11_A_Pin EC11_B_Pin */
  GPIO_InitStruct.Pin = EC11_Push_Pin|EC11_A_Pin|EC11_B_Pin;
  GPIO_InitStruct.Mode = GPIO_MODE_IT_RISING;
  GPIO_InitStruct.Pull = GPIO_PULLUP;
  HAL_GPIO_Init(GPIOB, &GPIO_InitStruct);

  /*Configure GPIO pin : Button_Pin */
  GPIO_InitStruct.Pin = Button_Pin;
  GPIO_InitStruct.Mode = GPIO_MODE_INPUT;
  GPIO_InitStruct.Pull = GPIO_PULLUP;
  HAL_GPIO_Init(Button_GPIO_Port, &GPIO_InitStruct);

  /*Configure GPIO pin : Motor_En_Pin */
  GPIO_InitStruct.Pin = Motor_En_Pin;
  GPIO_InitStruct.Mode = GPIO_MODE_OUTPUT_PP;
  GPIO_InitStruct.Pull = GPIO_PULLDOWN;
  GPIO_InitStruct.Speed = GPIO_SPEED_FREQ_LOW;
  HAL_GPIO_Init(Motor_En_GPIO_Port, &GPIO_InitStruct);

  /* EXTI interrupt init*/
  HAL_NVIC_SetPriority(EXTI2_IRQn, 15, 0);
  HAL_NVIC_EnableIRQ(EXTI2_IRQn);

  HAL_NVIC_SetPriority(EXTI15_10_IRQn, 15, 0);
  HAL_NVIC_EnableIRQ(EXTI15_10_IRQn);

}

/* USER CODE BEGIN 4 */
void usb_send(char *resp) {
    xSemaphoreTake(_usb_mutex, portMAX_DELAY);
    CDC_Transmit_FS((uint8_t*)resp, strlen(resp));
    xSemaphoreGive(_usb_mutex);
}

void process_usb() {
    if(_cmd_buffer_len > 0) {
      process_command((char*)_cmd_buffer, _cmd_buffer_len);
      memset((void*)_cmd_buffer, 0, sizeof(_cmd_buffer));
      _cmd_buffer_len = 0;
    }
#ifdef _PRINTF_
    osDelay(1);
    xSemaphoreTake(_usb_mutex, portMAX_DELAY);
    if(_usb_connected && _stdout_rdy) {
      if(CDC_Transmit_FS((uint8_t*)_stdout_buffer, _stdout_ptr) != USBD_BUSY) {
        _stdout_ptr = 0;
        _stdout_rdy = 0;
      }
    }
    xSemaphoreGive(_usb_mutex);
#endif
}
/* USER CODE END 4 */

void StartDefaultTask(void const * argument)
{
  /* init code for USB_DEVICE */
  MX_USB_DEVICE_Init();
  /* USER CODE BEGIN 5 */
  _usb_mutex = xSemaphoreCreateMutex();
  osDelay(3000);
  int led_ms = 0;
  int led_on = 1;

  /* Infinite loop */
  for(;;)
  {
    process_usb();
	  led_ms++;
	  if(led_ms >= 10) {
		  led_ms = 0;
		  if(led_on) {
			  led_on = 0;
			  HAL_GPIO_WritePin(Work_LED_GPIO_Port, Work_LED_Pin, GPIO_PIN_SET);
		  }
		  else {
			  led_on = 1;
			  HAL_GPIO_WritePin(Work_LED_GPIO_Port, Work_LED_Pin, GPIO_PIN_RESET);
		  }
	  }

	  osDelay(20);
  }
  /* USER CODE END 5 */
}

void main_task(void const * argument)
{
  /* USER CODE BEGIN main_task */
  //复位Inc编码器
  motor_reset_encoder();
  //等待静态电流稳定
  osDelay(2500);
  //读取ACS712静态电流
  motor_reset_acs712();
  /* Infinite loop */
  for(;;)
  {
		osDelay(100);
  }
  /* USER CODE END main_task */
}

void HAL_TIM_PeriodElapsedCallback(TIM_HandleTypeDef *htim)
{
  if (htim->Instance == TIM11)
  {
    HAL_IncTick();
    return;
  }
  /* USER CODE BEGIN Callback 1 */
	if(htim->Instance == TIM10) {
		gpio_pwm_1ms_tick();
    return;
	}
   if (htim->Instance == TIM3 || htim->Instance == TIM4 || htim->Instance == TIM1)  {
    motor_period_elapsed_callback(htim);
  }
  /* USER CODE END Callback 1 */
}

void Error_Handler(void)
{
  __disable_irq();
  while (1)
  {
  }
}
